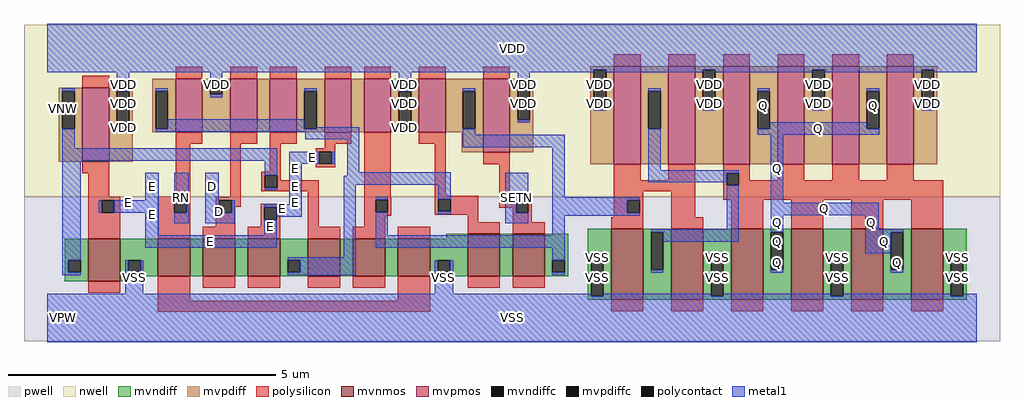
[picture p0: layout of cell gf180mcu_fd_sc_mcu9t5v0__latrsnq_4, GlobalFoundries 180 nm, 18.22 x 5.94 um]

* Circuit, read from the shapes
.subckt gf180mcu_fd_sc_mcu9t5v0__latrsnq_4 D E RN SETN Q VDD VNW VPW VSS
XM1 VSS E n1 VPW nfet_06v0 w=0.79u l=0.6u
XM2 n2 RN VSS VPW nfet_06v0 w=0.7u l=0.6u
XM3 n3 D n2 VPW nfet_06v0 w=0.7u l=0.6u
XM4 n4 E n3 VPW nfet_06v0 w=0.7u l=0.6u
XM5 n5 n1 n4 VPW nfet_06v0 w=0.7u l=0.6u
XM6 n6 n7 n5 VPW nfet_06v0 w=0.7u l=0.6u
XM7 VSS RN n6 VPW nfet_06v0 w=0.7u l=0.6u
XM8 n8 n4 VSS VPW nfet_06v0 w=0.79u l=0.6u
XM9 n7 SETN n8 VPW nfet_06v0 w=0.79u l=0.6u
XM10 n9 n7 VSS VPW nfet_06v0 w=1.32u l=0.6u m=2
XM11 Q n9 VSS VPW nfet_06v0 w=1.32u l=0.6u m=4
XM12 VDD E n1 VNW pfet_06v0 w=1.38u l=0.5u
XM13 VDD RN n4 VNW pfet_06v0 w=1u l=0.5u
XM14 n10 D VDD VNW pfet_06v0 w=1u l=0.5u
XM15 n4 n1 n10 VNW pfet_06v0 w=1u l=0.5u
XM16 n11 E n4 VNW pfet_06v0 w=1u l=0.5u
XM17 VDD n7 n11 VNW pfet_06v0 w=1u l=0.5u
XM18 n7 n4 VDD VNW pfet_06v0 w=1u l=0.5u
XM19 VDD SETN n7 VNW pfet_06v0 w=1.38u l=0.5u
XM20 n9 n7 VDD VNW pfet_06v0 w=1.83u l=0.5u m=2
XM21 Q n9 VDD VNW pfet_06v0 w=1.83u l=0.5u m=4
.ends

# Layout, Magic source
magic
tech gf180mcuD
magscale 1 10
<< nwell >>
rect -86 453 3558 1094
<< pwell >>
rect -86 -86 3558 453
<< mvnmos >>
rect 154 138 274 296
rect 414 156 534 296
rect 582 156 702 296
rect 750 156 870 296
rect 974 156 1094 296
rect 1142 156 1262 296
rect 1310 156 1430 296
rect 1570 156 1690 314
rect 1738 156 1858 314
rect 2106 69 2226 333
rect 2330 69 2450 333
rect 2554 69 2674 333
rect 2778 69 2898 333
rect 3002 69 3122 333
rect 3226 69 3346 333
<< mvpmos >>
rect 132 584 232 860
rect 480 694 580 894
rect 684 694 784 894
rect 832 694 932 894
rect 1036 694 1136 894
rect 1184 694 1284 894
rect 1388 694 1488 894
rect 1628 618 1728 894
rect 2116 574 2216 940
rect 2320 574 2420 940
rect 2524 574 2624 940
rect 2728 574 2828 940
rect 2932 574 3032 940
rect 3136 574 3236 940
<< mvndiff >>
rect 1490 296 1570 314
rect 66 216 154 296
rect 66 170 79 216
rect 125 170 154 216
rect 66 138 154 170
rect 274 216 414 296
rect 274 170 303 216
rect 349 170 414 216
rect 274 156 414 170
rect 534 156 582 296
rect 702 156 750 296
rect 870 216 974 296
rect 870 170 899 216
rect 945 170 974 216
rect 870 156 974 170
rect 1094 156 1142 296
rect 1262 156 1310 296
rect 1430 216 1570 296
rect 1430 170 1459 216
rect 1505 170 1570 216
rect 1430 156 1570 170
rect 1690 156 1738 314
rect 1858 216 1946 314
rect 1858 170 1887 216
rect 1933 170 1946 216
rect 1858 156 1946 170
rect 2018 222 2106 333
rect 274 138 354 156
rect 2018 82 2031 222
rect 2077 82 2106 222
rect 2018 69 2106 82
rect 2226 320 2330 333
rect 2226 180 2255 320
rect 2301 180 2330 320
rect 2226 69 2330 180
rect 2450 222 2554 333
rect 2450 82 2479 222
rect 2525 82 2554 222
rect 2450 69 2554 82
rect 2674 320 2778 333
rect 2674 180 2703 320
rect 2749 180 2778 320
rect 2674 69 2778 180
rect 2898 222 3002 333
rect 2898 82 2927 222
rect 2973 82 3002 222
rect 2898 69 3002 82
rect 3122 320 3226 333
rect 3122 180 3151 320
rect 3197 180 3226 320
rect 3122 69 3226 180
rect 3346 222 3434 333
rect 3346 82 3375 222
rect 3421 82 3434 222
rect 3346 69 3434 82
<< mvpdiff >>
rect 2028 927 2116 940
rect 44 847 132 860
rect 44 707 57 847
rect 103 707 132 847
rect 44 584 132 707
rect 232 847 320 860
rect 232 707 261 847
rect 307 707 320 847
rect 232 584 320 707
rect 392 847 480 894
rect 392 707 405 847
rect 451 707 480 847
rect 392 694 480 707
rect 580 881 684 894
rect 580 835 609 881
rect 655 835 684 881
rect 580 694 684 835
rect 784 694 832 894
rect 932 847 1036 894
rect 932 707 961 847
rect 1007 707 1036 847
rect 932 694 1036 707
rect 1136 694 1184 894
rect 1284 847 1388 894
rect 1284 707 1313 847
rect 1359 707 1388 847
rect 1284 694 1388 707
rect 1488 847 1628 894
rect 1488 707 1553 847
rect 1599 707 1628 847
rect 1488 694 1628 707
rect 1548 618 1628 694
rect 1728 881 1816 894
rect 1728 741 1757 881
rect 1803 741 1816 881
rect 1728 618 1816 741
rect 2028 787 2041 927
rect 2087 787 2116 927
rect 2028 574 2116 787
rect 2216 847 2320 940
rect 2216 707 2245 847
rect 2291 707 2320 847
rect 2216 574 2320 707
rect 2420 927 2524 940
rect 2420 787 2449 927
rect 2495 787 2524 927
rect 2420 574 2524 787
rect 2624 847 2728 940
rect 2624 707 2653 847
rect 2699 707 2728 847
rect 2624 574 2728 707
rect 2828 927 2932 940
rect 2828 787 2857 927
rect 2903 787 2932 927
rect 2828 574 2932 787
rect 3032 847 3136 940
rect 3032 707 3061 847
rect 3107 707 3136 847
rect 3032 574 3136 707
rect 3236 927 3324 940
rect 3236 787 3265 927
rect 3311 787 3324 927
rect 3236 574 3324 787
<< mvndiffc >>
rect 79 170 125 216
rect 303 170 349 216
rect 899 170 945 216
rect 1459 170 1505 216
rect 1887 170 1933 216
rect 2031 82 2077 222
rect 2255 180 2301 320
rect 2479 82 2525 222
rect 2703 180 2749 320
rect 2927 82 2973 222
rect 3151 180 3197 320
rect 3375 82 3421 222
<< mvpdiffc >>
rect 57 707 103 847
rect 261 707 307 847
rect 405 707 451 847
rect 609 835 655 881
rect 961 707 1007 847
rect 1313 707 1359 847
rect 1553 707 1599 847
rect 1757 741 1803 881
rect 2041 787 2087 927
rect 2245 707 2291 847
rect 2449 787 2495 927
rect 2653 707 2699 847
rect 2857 787 2903 927
rect 3061 707 3107 847
rect 3265 787 3311 927
<< polysilicon >>
rect 2116 940 2216 984
rect 2320 940 2420 984
rect 2524 940 2624 984
rect 2728 940 2828 984
rect 2932 940 3032 984
rect 3136 940 3236 984
rect 132 860 232 904
rect 480 894 580 938
rect 684 894 784 938
rect 832 894 932 938
rect 1036 894 1136 938
rect 1184 894 1284 938
rect 1388 894 1488 938
rect 1628 894 1728 938
rect 480 650 580 694
rect 684 650 784 694
rect 832 650 932 694
rect 1036 650 1136 694
rect 132 540 232 584
rect 154 452 232 540
rect 480 452 534 650
rect 684 452 724 650
rect 832 546 872 650
rect 1036 634 1076 650
rect 1004 621 1076 634
rect 1004 575 1017 621
rect 1063 575 1076 621
rect 1004 562 1076 575
rect 800 533 872 546
rect 800 487 813 533
rect 859 514 872 533
rect 859 487 1014 514
rect 800 474 1014 487
rect 154 439 274 452
rect 154 393 205 439
rect 251 393 274 439
rect 154 296 274 393
rect 414 439 534 452
rect 414 393 475 439
rect 521 393 534 439
rect 414 296 534 393
rect 630 439 724 452
rect 630 393 643 439
rect 689 416 724 439
rect 689 393 702 416
rect 630 340 702 393
rect 798 413 870 426
rect 798 367 811 413
rect 857 367 870 413
rect 798 340 870 367
rect 582 296 702 340
rect 750 296 870 340
rect 974 340 1014 474
rect 1184 448 1284 694
rect 1388 650 1488 694
rect 1448 457 1488 650
rect 1628 574 1728 618
rect 1184 441 1286 448
rect 1184 395 1227 441
rect 1273 395 1286 441
rect 1184 382 1286 395
rect 1448 444 1610 457
rect 1448 398 1461 444
rect 1507 398 1610 444
rect 1688 452 1728 574
rect 2116 514 2216 574
rect 2320 514 2420 574
rect 2116 474 2420 514
rect 1688 439 1810 452
rect 1688 412 1751 439
rect 1448 385 1610 398
rect 1184 340 1262 382
rect 1570 358 1610 385
rect 1738 393 1751 412
rect 1797 393 1810 439
rect 1738 358 1810 393
rect 2116 439 2226 474
rect 2116 393 2167 439
rect 2213 393 2226 439
rect 2116 377 2226 393
rect 974 296 1094 340
rect 1142 296 1262 340
rect 1310 296 1430 340
rect 1570 314 1690 358
rect 1738 314 1858 358
rect 2106 333 2226 377
rect 2330 377 2420 474
rect 2524 541 2624 574
rect 2524 495 2537 541
rect 2583 514 2624 541
rect 2728 514 2828 574
rect 2932 514 3032 574
rect 3136 514 3236 574
rect 2583 495 3346 514
rect 2524 442 3346 495
rect 2330 333 2450 377
rect 2554 333 2674 442
rect 2778 333 2898 442
rect 3002 333 3122 442
rect 3226 333 3346 442
rect 154 94 274 138
rect 414 64 534 156
rect 582 112 702 156
rect 750 112 870 156
rect 974 112 1094 156
rect 1142 112 1262 156
rect 1310 64 1430 156
rect 1570 112 1690 156
rect 1738 112 1858 156
rect 414 24 1430 64
rect 2106 25 2226 69
rect 2330 25 2450 69
rect 2554 25 2674 69
rect 2778 25 2898 69
rect 3002 25 3122 69
rect 3226 25 3346 69
<< polycontact >>
rect 1017 575 1063 621
rect 813 487 859 533
rect 205 393 251 439
rect 475 393 521 439
rect 643 393 689 439
rect 811 367 857 413
rect 1227 395 1273 441
rect 1461 398 1507 444
rect 1751 393 1797 439
rect 2167 393 2213 439
rect 2537 495 2583 541
<< metal1 >>
rect 0 927 3472 1098
rect 0 918 2041 927
rect 57 847 103 858
rect 57 634 103 707
rect 261 847 307 918
rect 609 881 655 918
rect 261 696 307 707
rect 405 847 451 858
rect 609 824 655 835
rect 961 847 1007 858
rect 451 707 961 742
rect 1313 847 1359 918
rect 1757 881 1803 918
rect 1007 707 1166 713
rect 405 696 1166 707
rect 1313 696 1359 707
rect 1553 847 1599 858
rect 2087 918 2449 927
rect 2041 776 2087 787
rect 2245 847 2291 858
rect 1757 730 1803 741
rect 964 667 1166 696
rect 57 588 859 634
rect 57 216 125 588
rect 366 439 418 542
rect 194 393 205 439
rect 251 393 418 439
rect 366 308 418 393
rect 475 439 530 542
rect 521 393 530 439
rect 475 354 530 393
rect 590 439 642 542
rect 813 533 859 588
rect 813 476 859 487
rect 905 575 1017 621
rect 1063 575 1074 621
rect 590 393 643 439
rect 689 393 700 439
rect 905 424 951 575
rect 1120 544 1166 667
rect 1553 684 1599 707
rect 2495 918 2857 927
rect 2449 776 2495 787
rect 2653 847 2699 858
rect 1553 638 1933 684
rect 1120 531 1507 544
rect 590 354 700 393
rect 811 413 951 424
rect 857 378 951 413
rect 1107 498 1507 531
rect 811 308 857 367
rect 366 262 857 308
rect 1107 227 1153 498
rect 1227 441 1273 452
rect 1227 308 1273 395
rect 1461 444 1507 498
rect 1461 387 1507 398
rect 1710 439 1797 542
rect 1710 393 1751 439
rect 1710 354 1797 393
rect 1887 450 1933 638
rect 2245 552 2291 707
rect 2903 918 3265 927
rect 2857 776 2903 787
rect 3061 847 3107 858
rect 2699 707 3061 730
rect 3311 918 3472 927
rect 3265 776 3311 787
rect 2653 684 3107 707
rect 2245 541 2583 552
rect 2245 506 2537 541
rect 1887 439 2213 450
rect 1887 393 2167 439
rect 1887 382 2213 393
rect 1887 308 1933 382
rect 2537 331 2583 495
rect 1227 262 1933 308
rect 899 216 1153 227
rect 1887 216 1933 262
rect 2255 320 2583 331
rect 57 170 79 216
rect 57 159 125 170
rect 292 170 303 216
rect 349 170 360 216
rect 292 90 360 170
rect 945 170 1153 216
rect 899 159 1153 170
rect 1448 170 1459 216
rect 1505 170 1516 216
rect 1448 90 1516 170
rect 1887 159 1933 170
rect 2031 222 2077 233
rect 0 82 2031 90
rect 2301 285 2583 320
rect 2703 430 2749 684
rect 2703 384 3106 430
rect 2703 320 2749 384
rect 2255 169 2301 180
rect 2479 222 2525 233
rect 2077 82 2479 90
rect 3054 331 3106 384
rect 3054 320 3197 331
rect 3054 242 3151 320
rect 2703 169 2749 180
rect 2927 222 2973 233
rect 2525 82 2927 90
rect 3151 169 3197 180
rect 3375 222 3421 233
rect 2973 82 3375 90
rect 3421 82 3472 90
rect 0 -90 3472 82
<< labels >>
flabel metal1 s 590 439 642 542 0 FreeSans 200 0 0 0 D
port 1 nsew default input
flabel metal1 s 905 575 1074 621 0 FreeSans 200 0 0 0 E
port 2 nsew clock input
flabel metal1 s 3061 730 3107 858 0 FreeSans 200 0 0 0 Q
port 5 nsew default output
flabel metal1 s 475 354 530 542 0 FreeSans 200 0 0 0 RN
port 3 nsew default input
flabel metal1 s 1710 354 1797 542 0 FreeSans 200 0 0 0 SETN
port 4 nsew default input
flabel metal1 s 0 918 3472 1098 0 FreeSans 200 0 0 0 VDD
port 6 nsew power bidirectional abutment
flabel metal1 s 3375 216 3421 233 0 FreeSans 200 0 0 0 VSS
port 9 nsew ground bidirectional abutment
flabel nwell s 10 734 110 834 0 FreeSans 400 0 0 0 VNW
port 7 nsew power bidirectional
flabel pwell s 10 -50 110 50 0 FreeSans 400 0 0 0 VPW
port 8 nsew ground bidirectional
rlabel metal1 s 590 354 700 439 1 D
port 1 nsew default input
rlabel metal1 s 905 542 951 575 1 E
port 2 nsew clock input
rlabel metal1 s 905 439 951 542 1 E
port 2 nsew clock input
rlabel metal1 s 366 439 418 542 1 E
port 2 nsew clock input
rlabel metal1 s 905 424 951 439 1 E
port 2 nsew clock input
rlabel metal1 s 194 424 418 439 1 E
port 2 nsew clock input
rlabel metal1 s 811 393 951 424 1 E
port 2 nsew clock input
rlabel metal1 s 194 393 418 424 1 E
port 2 nsew clock input
rlabel metal1 s 811 378 951 393 1 E
port 2 nsew clock input
rlabel metal1 s 366 378 418 393 1 E
port 2 nsew clock input
rlabel metal1 s 811 308 857 378 1 E
port 2 nsew clock input
rlabel metal1 s 366 308 418 378 1 E
port 2 nsew clock input
rlabel metal1 s 366 262 857 308 1 E
port 2 nsew clock input
rlabel metal1 s 2653 730 2699 858 1 Q
port 5 nsew default output
rlabel metal1 s 2653 684 3107 730 1 Q
port 5 nsew default output
rlabel metal1 s 2703 430 2749 684 1 Q
port 5 nsew default output
rlabel metal1 s 2703 384 3106 430 1 Q
port 5 nsew default output
rlabel metal1 s 3054 331 3106 384 1 Q
port 5 nsew default output
rlabel metal1 s 2703 331 2749 384 1 Q
port 5 nsew default output
rlabel metal1 s 3054 242 3197 331 1 Q
port 5 nsew default output
rlabel metal1 s 2703 242 2749 331 1 Q
port 5 nsew default output
rlabel metal1 s 3151 169 3197 242 1 Q
port 5 nsew default output
rlabel metal1 s 2703 169 2749 242 1 Q
port 5 nsew default output
rlabel metal1 s 3265 824 3311 918 1 VDD
port 6 nsew power bidirectional abutment
rlabel metal1 s 2857 824 2903 918 1 VDD
port 6 nsew power bidirectional abutment
rlabel metal1 s 2449 824 2495 918 1 VDD
port 6 nsew power bidirectional abutment
rlabel metal1 s 2041 824 2087 918 1 VDD
port 6 nsew power bidirectional abutment
rlabel metal1 s 1757 824 1803 918 1 VDD
port 6 nsew power bidirectional abutment
rlabel metal1 s 1313 824 1359 918 1 VDD
port 6 nsew power bidirectional abutment
rlabel metal1 s 609 824 655 918 1 VDD
port 6 nsew power bidirectional abutment
rlabel metal1 s 261 824 307 918 1 VDD
port 6 nsew power bidirectional abutment
rlabel metal1 s 3265 776 3311 824 1 VDD
port 6 nsew power bidirectional abutment
rlabel metal1 s 2857 776 2903 824 1 VDD
port 6 nsew power bidirectional abutment
rlabel metal1 s 2449 776 2495 824 1 VDD
port 6 nsew power bidirectional abutment
rlabel metal1 s 2041 776 2087 824 1 VDD
port 6 nsew power bidirectional abutment
rlabel metal1 s 1757 776 1803 824 1 VDD
port 6 nsew power bidirectional abutment
rlabel metal1 s 1313 776 1359 824 1 VDD
port 6 nsew power bidirectional abutment
rlabel metal1 s 261 776 307 824 1 VDD
port 6 nsew power bidirectional abutment
rlabel metal1 s 1757 730 1803 776 1 VDD
port 6 nsew power bidirectional abutment
rlabel metal1 s 1313 730 1359 776 1 VDD
port 6 nsew power bidirectional abutment
rlabel metal1 s 261 730 307 776 1 VDD
port 6 nsew power bidirectional abutment
rlabel metal1 s 1313 696 1359 730 1 VDD
port 6 nsew power bidirectional abutment
rlabel metal1 s 261 696 307 730 1 VDD
port 6 nsew power bidirectional abutment
rlabel metal1 s 2927 216 2973 233 1 VSS
port 9 nsew ground bidirectional abutment
rlabel metal1 s 2479 216 2525 233 1 VSS
port 9 nsew ground bidirectional abutment
rlabel metal1 s 2031 216 2077 233 1 VSS
port 9 nsew ground bidirectional abutment
rlabel metal1 s 3375 90 3421 216 1 VSS
port 9 nsew ground bidirectional abutment
rlabel metal1 s 2927 90 2973 216 1 VSS
port 9 nsew ground bidirectional abutment
rlabel metal1 s 2479 90 2525 216 1 VSS
port 9 nsew ground bidirectional abutment
rlabel metal1 s 2031 90 2077 216 1 VSS
port 9 nsew ground bidirectional abutment
rlabel metal1 s 1448 90 1516 216 1 VSS
port 9 nsew ground bidirectional abutment
rlabel metal1 s 292 90 360 216 1 VSS
port 9 nsew ground bidirectional abutment
rlabel metal1 s 0 -90 3472 90 1 VSS
port 9 nsew ground bidirectional abutment
<< properties >>
string FIXED_BBOX 0 0 3472 1008
string GDS_END 1048138
string GDS_FILE $PDKPATH/libs.ref/gf180mcu_fd_sc_mcu9t5v0/gds/gf180mcu_fd_sc_mcu9t5v0.gds
string GDS_START 1039352
string LEFclass core
string LEFsite GF018hv5v_green_sc9
string LEFsymmetry X Y
<< end >>
